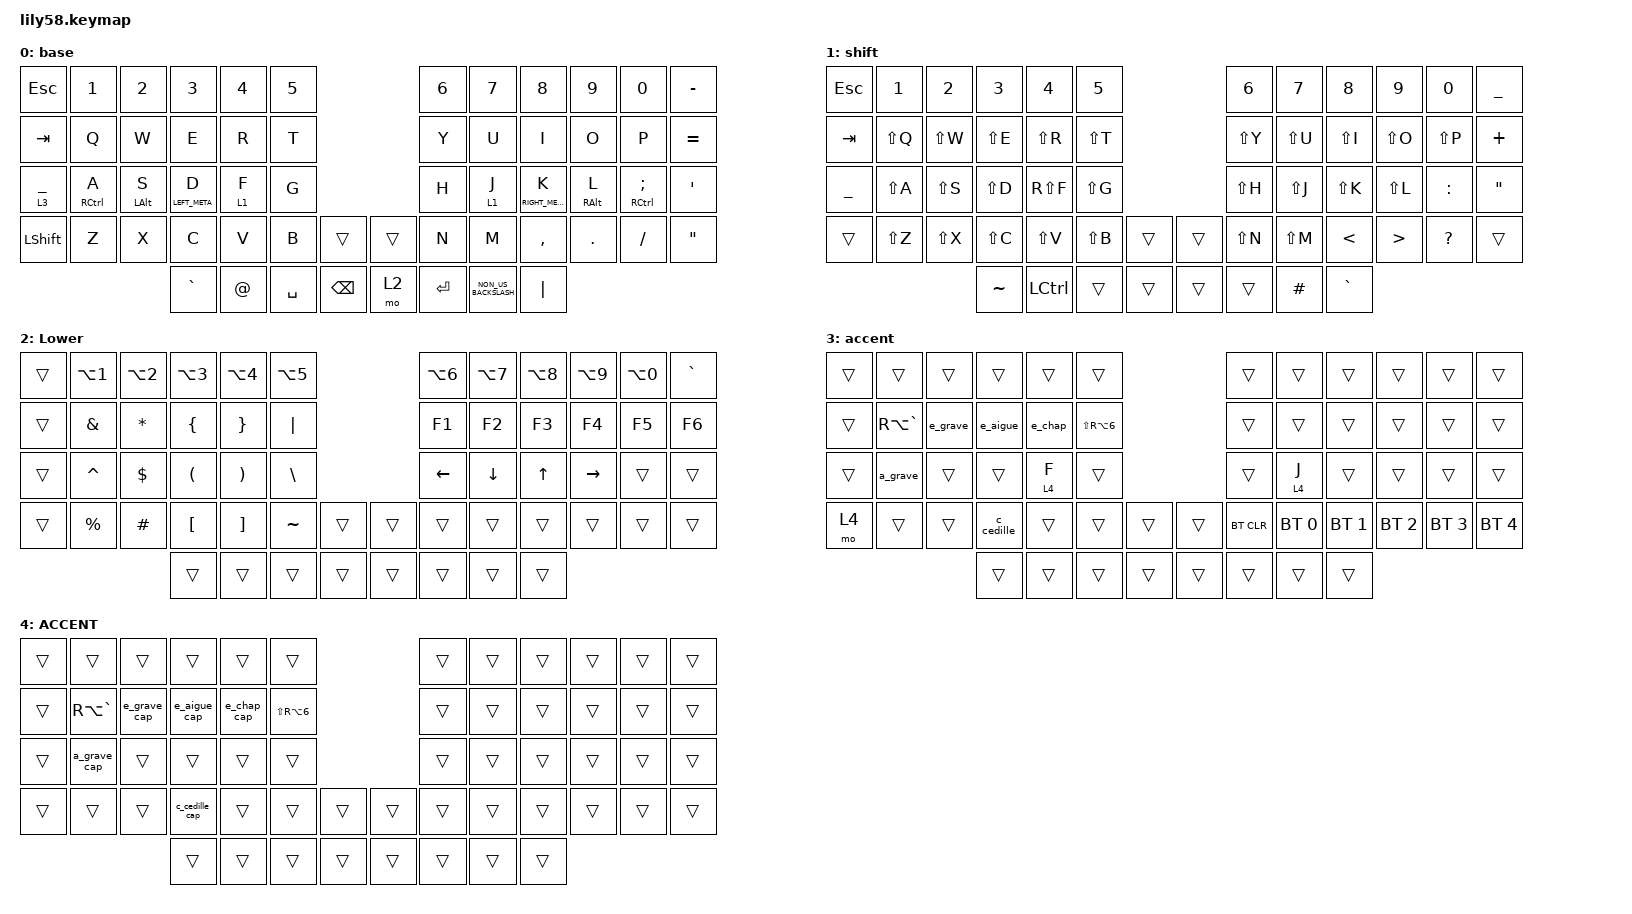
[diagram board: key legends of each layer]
/*
 * Copyright (c) 2020 The ZMK Contributors
 *
 * SPDX-License-Identifier: MIT
 */

#include <behaviors.dtsi>
#include <dt-bindings/zmk/bt.h>
#include <dt-bindings/zmk/keys.h>

/ {
    behaviors {
        HMR: HMR {
            compatible = "zmk,behavior-hold-tap";
            label = "HMR";
            bindings = <&kp>, <&kp>;

            #binding-cells = <2>;
            tapping-term-ms = <140>;
            flavor = "balanced";
            hold-trigger-on-release;
        };

        hmr_layer: hmr_layer {
            compatible = "zmk,behavior-hold-tap";
            label = "HMR_LAYER";
            bindings = <&mo>, <&kp>;

            #binding-cells = <2>;
            tapping-term-ms = <140>;
            flavor = "balanced";
            hold-trigger-on-release;
        };
    };

    macros {
        e_grave: e_grave {
            compatible = "zmk,behavior-macro";
            #binding-cells = <0>;
            bindings = <&kp RA(GRAVE) &kp E>;
            label = "E_GRAVE";
        };

        e_aigue: e_aigue {
            compatible = "zmk,behavior-macro";
            #binding-cells = <0>;
            bindings = <&kp RA(SQT) &kp E>;
            label = "E_AIGUE";
        };

        e_chap: e_chap {
            compatible = "zmk,behavior-macro";
            #binding-cells = <0>;
            bindings = <&kp RA(LS(NUMBER_6)) &kp E>;
            label = "E_CHAP";
        };

        a_grave: a_grave {
            compatible = "zmk,behavior-macro";
            #binding-cells = <0>;
            bindings = <&kp RA(GRAVE) &kp A>;
            label = "A_GRAVE";
        };

        c_cedille: c_cedille {
            compatible = "zmk,behavior-macro";
            #binding-cells = <0>;
            bindings = <&kp RA(COMMA) &kp C>;
            label = "C_CEDILLE";
        };

        e_grave_cap: e_grave_cap {
            compatible = "zmk,behavior-macro";
            #binding-cells = <0>;
            bindings = <&kp RA(GRAVE) &kp LS(E)>;
            label = "E_GRAVE_CAP";
        };

        e_aigue_cap: e_aigue_cap {
            compatible = "zmk,behavior-macro";
            #binding-cells = <0>;
            bindings = <&kp RA(SQT) &kp LS(E)>;
            label = "E_AIGUE_CAP";
        };

        e_chap_cap: e_chap_cap {
            compatible = "zmk,behavior-macro";
            #binding-cells = <0>;
            bindings = <&kp RA(LS(NUMBER_6)) &kp LS(E)>;
            label = "E_CHAP_CAP";
        };

        a_grave_cap: a_grave_cap {
            compatible = "zmk,behavior-macro";
            #binding-cells = <0>;
            bindings = <&kp RA(GRAVE) &kp LS(A)>;
            label = "A_GRAVE_CAP";
        };

        c_cedille_cap: c_cedille_cap {
            compatible = "zmk,behavior-macro";
            #binding-cells = <0>;
            bindings = <&kp RA(COMMA) &kp LS(C)>;
            label = "C_CEDILLE_CAP";
        };
    };

    keymap {
        compatible = "zmk,keymap";

        base {
            // ------------------------------------------------------------------------------------------------------------
            // |  ESC  |  1  |  2  |  3   |  4   |  5   |                   |  6   |  7    |  8    |  9   |   0   |   `   |
            // |  TAB  |  Q  |  W  |  E   |  R   |  T   |                   |  Y   |  U    |  I    |  O   |   P   |   -   |
            // |  CTRL |  A  |  S  |  D   |  F   |  G   |                   |  H   |  J    |  K    |  L   |   ;   |   '   |
            // | SHIFT |  Z  |  X  |  C   |  V   |  B   |   "["  |  |  "]"  |  N   |  M    |  ,    |  .   |   /   | SHIFT |
            //                     | ALT  | GUI  | LOWER|  SPACE |  | ENTER | RAISE| BSPC  | GUI   |

            display-name = "base";
            bindings = <
&kp ESCAPE               &kp NUMBER_1  &kp NUMBER_2     &kp NUMBER_3      &kp NUMBER_4    &kp N5                              &kp NUMBER_6  &kp N7                &kp N8             &kp N9            &kp N0                &kp MINUS
&kp TAB                  &kp Q         &kp W            &kp E             &kp R           &kp T                               &kp Y         &kp U                 &kp I              &kp O             &kp P                 &kp EQUAL
&hmr_layer 3 UNDERSCORE  &HMR RCTRL A  &HMR LEFT_ALT S  &HMR LEFT_META D  &hmr_layer 1 F  &kp G                               &kp H         &hmr_layer 1 J        &HMR RIGHT_META K  &HMR RIGHT_ALT L  &HMR RCTRL SEMICOLON  &kp SQT
&kp LEFT_SHIFT           &kp Z         &kp X            &kp C             &kp V           &kp B      &trans           &trans  &kp N         &kp M                 &kp COMMA          &kp DOT           &kp FSLH              &kp DOUBLE_QUOTES
                                                        &kp GRAVE         &kp AT_SIGN     &kp SPACE  &kp BACKSPACE    &mo 2   &kp ENTER     &kp NON_US_BACKSLASH  &kp PIPE
            >;
        };

        shift {
            bindings = <
&kp ESCAPE      &kp NUMBER_1  &kp NUMBER_2  &kp NUMBER_3  &kp NUMBER_4  &kp N5                       &kp NUMBER_6  &kp N7     &kp N8         &kp N9            &kp N0        &kp UNDERSCORE
&kp TAB         &kp LS(Q)     &kp LS(W)     &kp LS(E)     &kp LS(R)     &kp LS(T)                    &kp LS(Y)     &kp LS(U)  &kp LS(I)      &kp LS(O)         &kp LS(P)     &kp PLUS
&kp UNDERSCORE  &kp LS(A)     &kp LS(S)     &kp LS(D)     &kp RS(F)     &kp LS(G)                    &kp LS(H)     &kp LS(J)  &kp LS(K)      &kp LS(L)         &kp COLON     &kp DOUBLE_QUOTES
&trans          &kp LS(Z)     &kp LS(X)     &kp LS(C)     &kp LS(V)     &kp LS(B)  &trans    &trans  &kp LS(N)     &kp LS(M)  &kp LESS_THAN  &kp GREATER_THAN  &kp QUESTION  &trans
                                            &kp TILDE     &kp LCTRL     &trans     &trans    &trans  &trans        &kp HASH   &kp GRAVE
            >;
        };

        prog {
            // ------------------------------------------------------------------------------------------------------------
            // | BTCLR | BT1 | BT2 |  BT3 |  BT4 |  BT5 |                   |      |       |       |      |       |       |
            // |  F1   |  F2 |  F3 |  F4  |  F5  |  F6  |                   |  F7  |  F8   |  F9   |  F10 |  F11  |  F12  |
            // |   `   |  !  |  @  |  #   |  $   |  %   |                   |  ^   |  &    |  *    |  (   |   )   |   ~   |
            // |       |     |     |      |      |      |        |  |       |      |  _    |  +    |  {   |   }   |  "|"  |
            //                     |      |      |      |        |  |       |      |       |       |

            display-name = "Lower";
            bindings = <
&trans  &kp LA(NUMBER_1)  &kp LA(NUMBER_2)  &kp LA(NUMBER_3)      &kp LA(NUMBER_4)       &kp LA(NUMBER_5)                    &kp LA(NUMBER_6)  &kp LA(NUMBER_7)  &kp LA(NUMBER_8)  &kp LA(NUMBER_9)  &kp LA(NUMBER_0)  &kp GRAVE
&trans  &kp AMPERSAND     &kp ASTERISK      &kp LEFT_BRACE        &kp RIGHT_BRACE        &kp PIPE                            &kp F1            &kp F2            &kp F3            &kp F4            &kp F5            &kp F6
&trans  &kp CARET         &kp DOLLAR        &kp LEFT_PARENTHESIS  &kp RIGHT_PARENTHESIS  &kp BACKSLASH                       &kp LEFT_ARROW    &kp DOWN_ARROW    &kp UP_ARROW      &kp RIGHT_ARROW   &trans            &trans
&trans  &kp PERCENT       &kp HASH          &kp LEFT_BRACKET      &kp RIGHT_BRACKET      &kp TILDE         &trans    &trans  &trans            &trans            &trans            &trans            &trans            &trans
                                            &trans                &trans                 &trans            &trans    &trans  &trans            &trans            &trans
            >;
        };

        accent {
            // ------------------------------------------------------------------------------------------------------------
            // |       |     |     |      |      |      |                   |      |       |       |      |       |       |
            // |   `   |  1  |  2  |  3   |  4   |  5   |                   |  6   |   7   |   8   |  9   |   0   |       |
            // |   F1  |  F2 |  F3 |  F4  |  F5  |  F6  |                   |      |   <-  |   v   |  ^   |  ->   |       |
            // |   F7  |  F8 |  F9 |  F10 |  F11 |  F12 |        |  |       |  +   |   -   |   =   |  [   |   ]   |   \   |
            //                     |      |      |      |        |  |       |      |       |       |

            display-name = "accent";
            bindings = <
&trans  &trans         &trans    &trans      &trans          &trans                                  &trans      &trans          &trans        &trans        &trans        &trans
&trans  &kp RA(GRAVE)  &e_grave  &e_aigue    &e_chap         &kp LS(RA(NUMBER_6))                    &trans      &trans          &trans        &trans        &trans        &trans
&trans  &a_grave       &trans    &trans      &hmr_layer 4 F  &trans                                  &trans      &hmr_layer 4 J  &trans        &trans        &trans        &trans
&mo 4   &trans         &trans    &c_cedille  &trans          &trans                &trans    &trans  &bt BT_CLR  &bt BT_SEL 0    &bt BT_SEL 1  &bt BT_SEL 2  &bt BT_SEL 3  &bt BT_SEL 4
                                 &trans      &trans          &trans                &trans    &trans  &trans      &trans          &trans
            >;
        };

        ACCENT {
            display-name = "ACCENT";
            bindings = <
&trans  &trans         &trans        &trans          &trans       &trans                                  &trans  &trans  &trans  &trans  &trans  &trans
&trans  &kp RA(GRAVE)  &e_grave_cap  &e_aigue_cap    &e_chap_cap  &kp LS(RA(NUMBER_6))                    &trans  &trans  &trans  &trans  &trans  &trans
&trans  &a_grave_cap   &trans        &trans          &trans       &trans                                  &trans  &trans  &trans  &trans  &trans  &trans
&trans  &trans         &trans        &c_cedille_cap  &trans       &trans                &trans    &trans  &trans  &trans  &trans  &trans  &trans  &trans
                                     &trans          &trans       &trans                &trans    &trans  &trans  &trans  &trans
            >;
        };
    };
};
